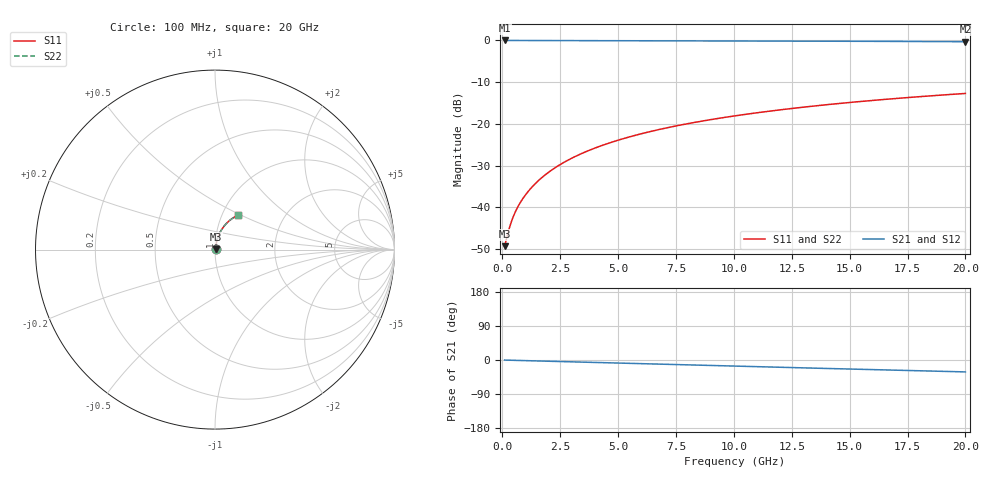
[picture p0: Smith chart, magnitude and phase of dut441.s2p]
! Touchstone file exported from HFSS 2026.1.0
!  File:  C:/ffzhzh/LocalFiles/Ansys_Project_Files/temp_train_BSMRDL_441_1783013091_53980.aedt
!  Generated:  01:26:15 AM Jul  3, 2026
!  Design:  BSMRDL
!  Project:  temp_train_BSMRDL_441_1783013091_53980
! Variables:
!  h_bsmrdl = 2.3um
!  h_ox = 20um
!  h_rdl = 5um
!  h_sub = 80um
!  h_tmrdl = 5um
!  h_tsv = 80um
!  h_via = 3um
!  l_bsmrdl = 474.64um
!  l_sub = 874.64um
!  l_tmrdl = 200um
!  m_sub = 200um
!  pitch = 43.28um
!  r_tsv = 6um
!  s_tmrdl = 10um
!  w_bsmrdl = 27.26um
!  w_sub = 500um
!  w_tmrdl = 12um
!  x_tsv_center1 = 206um
!  x_tsv_center2 = 707.9um
!  x_tsv_center3 = 919.9um
!  x_tsv_center4 = 1421.8um
!  x_tsv_center5 = 1633.8um
!  x_tsv_center6 = 2135.7um
# GHz S MA R 50.000000
! Terminal data exported
! Port[1] = BSM_RDL1_1_T1
! Port[2] = BSM_RDL1_1_T2
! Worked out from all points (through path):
!   200 points, 100 MHz to 20 GHz, reference 50 ohm
!   highest |S21| = -0.03 dB at 100 MHz (marker M1); lowest = -0.3 dB at 20 GHz (marker M2)
!   group delay of S21, straight-line fit = 4.37 ps
!   lowest |S11| = -49.3 dB at 100 MHz (marker M3), VSWR 1.01, Z = 50.3 + j0.154 ohm
!   |S11| at or under -10 dB: start of sweep to end of sweep
!   |S22| runs from -49.3 to -12.7 dB; largest |S21 - S12| = 2.7e-15
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0.1  0.003422 26.6  0.9969 -0.2  0.9969 -0.2  0.003422 26.6
! Gamma 0 0 0 0
! Port Impedance 50 0 50 0
0.3  0.005588 52.7  0.9966 -0.5  0.9966 -0.5  0.005588 52.7
0.4  0.006821 58.2  0.9965 -0.7  0.9965 -0.7  0.006821 58.2
0.5  0.008049 61.8  0.9963 -0.9  0.9963 -0.9  0.008049 61.8
0.6  0.009263 64.5  0.9961 -1.0  0.9961 -1.0  0.009263 64.5
0.8  0.01167 68.3  0.9959 -1.3  0.9959 -1.3  0.01167 68.3
1  0.01406 71.0  0.9957 -1.7  0.9957 -1.7  0.01407 71.0
1.2  0.01648 72.9  0.9956 -2.0  0.9956 -2.0  0.01648 72.9
1.4  0.01891 74.3  0.9955 -2.3  0.9955 -2.3  0.01891 74.3
1.7  0.02259 75.8  0.9953 -2.8  0.9953 -2.8  0.02259 75.8
2.2  0.02877 77.3  0.995 -3.6  0.995 -3.6  0.02877 77.2
2.8  0.03625 78.0  0.9947 -4.6  0.9947 -4.6  0.03624 78.0
3.5  0.04499 78.2  0.9942 -5.7  0.9942 -5.7  0.04499 78.2
4.2  0.05372 77.9  0.9936 -6.8  0.9936 -6.8  0.05372 77.9
5  0.06366 77.3  0.9928 -8.1  0.9928 -8.1  0.06366 77.2
5.9  0.07478 76.3  0.9918 -9.5  0.9918 -9.5  0.07478 76.3
6.8  0.0858 75.3  0.9907 -11.0  0.9907 -11.0  0.0858 75.2
8.3  0.1039 73.3  0.9885 -13.4  0.9885 -13.4  0.1039 73.3
10.1  0.1252 70.7  0.9855 -16.2  0.9855 -16.2  0.1252 70.7
13.4  0.1627 65.9  0.9789 -21.4  0.9789 -21.4  0.1627 65.9
16.7  0.1981 61.1  0.9715 -26.5  0.9715 -26.5  0.1981 61.0
20  0.231 56.2  0.9634 -31.4  0.9634 -31.4  0.231 56.2
